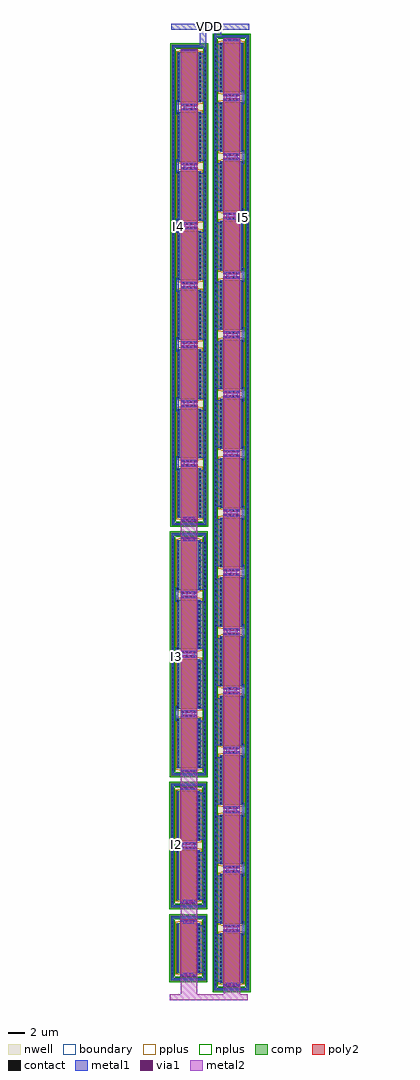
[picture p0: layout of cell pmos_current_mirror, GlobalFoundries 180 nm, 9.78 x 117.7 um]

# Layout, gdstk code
import gdstk
lib = gdstk.Library(unit=1e-6, precision=1e-09)
def R(c, l, rs):  # rectangles x0, y0, x1, y1
    for r in rs: c.add(gdstk.rectangle(r[:2], r[2:], *l))
def A(c, l, x, y, w, h, nx, ny, dx, dy):  # array of equal rectangles
    R(c, l, [(x+i*dx, y+j*dy, x+i*dx+w, y+j*dy+h) for i in range(nx) for j in range(ny)])
boundary = (0, 0)
nwell = (21, 0)
comp = (22, 0)
poly2 = (30, 0)
pplus = (31, 0)
nplus = (32, 0)
contact = (33, 0)
metal1 = (34, 0)
via1 = (35, 0)
metal2 = (36, 0)

pfet_03v3_v2nssf = lib.new_cell('pfet_03v3_V2NSSF')
R(pfet_03v3_v2nssf, boundary, [(-1.95,-57.45,1.95,57.45)])
R(pfet_03v3_v2nssf, nwell, [(-2.25,-57.75,2.25,57.75)])
A(pfet_03v3_v2nssf, comp, -1.44, -56.7, 2.88, 6, 1, 16, 0, 7.16)
R(pfet_03v3_v2nssf, comp, [(-2.13,-57.63,2.13,-57.27), (-2.13,-57.27,-1.77,57.27), (1.77,-57.27,2.13,57.27), (-2.13,57.27,2.13,57.63)])
A(pfet_03v3_v2nssf, poly2, -1, -57.16, 2, 6.92, 1, 16, 0, 7.16)
A(pfet_03v3_v2nssf, pplus, -1.6, -56.86, 3.2, 6.32, 1, 16, 0, 7.16)
R(pfet_03v3_v2nssf, pplus, [(-1.23,-56.93,1.23,-56.86), (-1.23,-50.54,1.23,-50.47), (-1.23,-49.77,1.23,-49.7), (-1.23,-43.38,1.23,-43.31), (-1.23,-42.61,1.23,-42.54), (-1.23,-36.22,1.23,-36.15), (-1.23,-35.45,1.23,-35.38), (-1.23,-29.06,1.23,-28.99), (-1.23,-28.29,1.23,-28.22), (-1.23,-21.9,1.23,-21.83), (-1.23,-21.13,1.23,-21.06), (-1.23,-14.74,1.23,-14.67), (-1.23,-13.97,1.23,-13.9), (-1.23,-7.58,1.23,-7.51), (-1.23,-6.81,1.23,-6.74), (-1.23,-0.42,1.23,-0.35), (-1.23,0.35,1.23,0.42), (-1.23,6.74,1.23,6.81), (-1.23,7.51,1.23,7.58), (-1.23,13.9,1.23,13.97), (-1.23,14.67,1.23,14.74), (-1.23,21.06,1.23,21.13), (-1.23,21.83,1.23,21.9), (-1.23,28.22,1.23,28.29), (-1.23,28.99,1.23,29.06), (-1.23,35.38,1.23,35.45), (-1.23,36.15,1.23,36.22), (-1.23,42.54,1.23,42.61), (-1.23,43.31,1.23,43.38), (-1.23,49.7,1.23,49.77), (-1.23,50.47,1.23,50.54), (-1.23,56.86,1.23,56.93)])
R(pfet_03v3_v2nssf, nplus, [(-2.29,-57.79,2.29,-57.16), (-2.29,-57.16,-1.66,57.16), (1.66,-57.16,2.29,57.16), (-2.29,57.16,2.29,57.79)])
A(pfet_03v3_v2nssf, contact, -0.815, -57.09, 0.22, 0.22, 4, 2, 0.47, 6.56)
A(pfet_03v3_v2nssf, contact, -2.06, -56.98, 0.22, 0.22, 1, 243, 0, 0.47)
A(pfet_03v3_v2nssf, contact, 1.84, -56.98, 0.22, 0.22, 1, 243, 0, 0.47)
A(pfet_03v3_v2nssf, contact, -1.37, -56.63, 0.22, 0.22, 1, 13, 0, 0.47)
A(pfet_03v3_v2nssf, contact, 1.15, -56.63, 0.22, 0.22, 1, 13, 0, 0.47)
A(pfet_03v3_v2nssf, contact, -0.815, -49.93, 0.22, 0.22, 4, 2, 0.47, 6.56)
A(pfet_03v3_v2nssf, contact, -1.37, -49.47, 0.22, 0.22, 1, 13, 0, 0.47)
A(pfet_03v3_v2nssf, contact, 1.15, -49.47, 0.22, 0.22, 1, 13, 0, 0.47)
A(pfet_03v3_v2nssf, contact, -0.815, -42.77, 0.22, 0.22, 4, 2, 0.47, 6.56)
A(pfet_03v3_v2nssf, contact, -1.37, -42.31, 0.22, 0.22, 1, 13, 0, 0.47)
A(pfet_03v3_v2nssf, contact, 1.15, -42.31, 0.22, 0.22, 1, 13, 0, 0.47)
A(pfet_03v3_v2nssf, contact, -0.815, -35.61, 0.22, 0.22, 4, 2, 0.47, 6.56)
A(pfet_03v3_v2nssf, contact, -1.37, -35.15, 0.22, 0.22, 1, 13, 0, 0.47)
A(pfet_03v3_v2nssf, contact, 1.15, -35.15, 0.22, 0.22, 1, 13, 0, 0.47)
A(pfet_03v3_v2nssf, contact, -0.815, -28.45, 0.22, 0.22, 4, 2, 0.47, 6.56)
A(pfet_03v3_v2nssf, contact, -1.37, -27.99, 0.22, 0.22, 1, 13, 0, 0.47)
A(pfet_03v3_v2nssf, contact, 1.15, -27.99, 0.22, 0.22, 1, 13, 0, 0.47)
A(pfet_03v3_v2nssf, contact, -0.815, -21.29, 0.22, 0.22, 4, 2, 0.47, 6.56)
A(pfet_03v3_v2nssf, contact, -1.37, -20.83, 0.22, 0.22, 1, 13, 0, 0.47)
A(pfet_03v3_v2nssf, contact, 1.15, -20.83, 0.22, 0.22, 1, 13, 0, 0.47)
A(pfet_03v3_v2nssf, contact, -0.815, -14.13, 0.22, 0.22, 4, 2, 0.47, 6.56)
A(pfet_03v3_v2nssf, contact, -1.37, -13.67, 0.22, 0.22, 1, 13, 0, 0.47)
A(pfet_03v3_v2nssf, contact, 1.15, -13.67, 0.22, 0.22, 1, 13, 0, 0.47)
A(pfet_03v3_v2nssf, contact, -0.815, -6.97, 0.22, 0.22, 4, 2, 0.47, 6.56)
A(pfet_03v3_v2nssf, contact, -1.37, -6.51, 0.22, 0.22, 1, 13, 0, 0.47)
A(pfet_03v3_v2nssf, contact, 1.15, -6.51, 0.22, 0.22, 1, 13, 0, 0.47)
A(pfet_03v3_v2nssf, contact, -0.815, 0.19, 0.22, 0.22, 4, 2, 0.47, 6.56)
A(pfet_03v3_v2nssf, contact, -1.37, 0.65, 0.22, 0.22, 1, 13, 0, 0.47)
A(pfet_03v3_v2nssf, contact, 1.15, 0.65, 0.22, 0.22, 1, 13, 0, 0.47)
A(pfet_03v3_v2nssf, contact, -0.815, 7.35, 0.22, 0.22, 4, 2, 0.47, 6.56)
A(pfet_03v3_v2nssf, contact, -1.37, 7.81, 0.22, 0.22, 1, 13, 0, 0.47)
A(pfet_03v3_v2nssf, contact, 1.15, 7.81, 0.22, 0.22, 1, 13, 0, 0.47)
A(pfet_03v3_v2nssf, contact, -0.815, 14.51, 0.22, 0.22, 4, 2, 0.47, 6.56)
A(pfet_03v3_v2nssf, contact, -1.37, 14.97, 0.22, 0.22, 1, 13, 0, 0.47)
A(pfet_03v3_v2nssf, contact, 1.15, 14.97, 0.22, 0.22, 1, 13, 0, 0.47)
A(pfet_03v3_v2nssf, contact, -0.815, 21.67, 0.22, 0.22, 4, 2, 0.47, 6.56)
A(pfet_03v3_v2nssf, contact, -1.37, 22.13, 0.22, 0.22, 1, 13, 0, 0.47)
A(pfet_03v3_v2nssf, contact, 1.15, 22.13, 0.22, 0.22, 1, 13, 0, 0.47)
A(pfet_03v3_v2nssf, contact, -0.815, 28.83, 0.22, 0.22, 4, 2, 0.47, 6.56)
A(pfet_03v3_v2nssf, contact, -1.37, 29.29, 0.22, 0.22, 1, 13, 0, 0.47)
A(pfet_03v3_v2nssf, contact, 1.15, 29.29, 0.22, 0.22, 1, 13, 0, 0.47)
A(pfet_03v3_v2nssf, contact, -0.815, 35.99, 0.22, 0.22, 4, 2, 0.47, 6.56)
A(pfet_03v3_v2nssf, contact, -1.37, 36.45, 0.22, 0.22, 1, 13, 0, 0.47)
A(pfet_03v3_v2nssf, contact, 1.15, 36.45, 0.22, 0.22, 1, 13, 0, 0.47)
A(pfet_03v3_v2nssf, contact, -0.815, 43.15, 0.22, 0.22, 4, 2, 0.47, 6.56)
A(pfet_03v3_v2nssf, contact, -1.37, 43.61, 0.22, 0.22, 1, 13, 0, 0.47)
A(pfet_03v3_v2nssf, contact, 1.15, 43.61, 0.22, 0.22, 1, 13, 0, 0.47)
A(pfet_03v3_v2nssf, contact, -0.815, 50.31, 0.22, 0.22, 4, 2, 0.47, 6.56)
A(pfet_03v3_v2nssf, contact, -1.37, 50.77, 0.22, 0.22, 1, 13, 0, 0.47)
A(pfet_03v3_v2nssf, contact, 1.15, 50.77, 0.22, 0.22, 1, 13, 0, 0.47)
A(pfet_03v3_v2nssf, metal1, -1.375, -56.69, 0.23, 5.98, 1, 16, 0, 7.16)
A(pfet_03v3_v2nssf, metal1, 1.145, -56.69, 0.23, 5.98, 1, 16, 0, 7.16)
R(pfet_03v3_v2nssf, metal1, [(-2.065,-57.565,2.065,-57.335), (-2.065,-57.335,-1.835,57.335), (1.835,-57.335,2.065,57.335), (-0.99,-57.095,0.99,-56.865), (-0.99,-50.535,0.99,-50.305), (-0.99,-49.935,0.99,-49.705), (-0.99,-43.375,0.99,-43.145), (-0.99,-42.775,0.99,-42.545), (-0.99,-36.215,0.99,-35.985), (-0.99,-35.615,0.99,-35.385), (-0.99,-29.055,0.99,-28.825), (-0.99,-28.455,0.99,-28.225), (-0.99,-21.895,0.99,-21.665), (-0.99,-21.295,0.99,-21.065), (-0.99,-14.735,0.99,-14.505), (-0.99,-14.135,0.99,-13.905), (-0.99,-7.575,0.99,-7.345), (-0.99,-6.975,0.99,-6.745), (-0.99,-0.415,0.99,-0.185), (-0.99,0.185,0.99,0.415), (-0.99,6.745,0.99,6.975), (-0.99,7.345,0.99,7.575), (-0.99,13.905,0.99,14.135), (-0.99,14.505,0.99,14.735), (-0.99,21.065,0.99,21.295), (-0.99,21.665,0.99,21.895), (-0.99,28.225,0.99,28.455), (-0.99,28.825,0.99,29.055), (-0.99,35.385,0.99,35.615), (-0.99,35.985,0.99,36.215), (-0.99,42.545,0.99,42.775), (-0.99,43.145,0.99,43.375), (-0.99,49.705,0.99,49.935), (-0.99,50.305,0.99,50.535), (-0.99,56.865,0.99,57.095), (-2.065,57.335,2.065,57.565)])

pfet_03v3_cumvap = lib.new_cell('pfet_03v3_CUMVAP')
R(pfet_03v3_cumvap, boundary, [(-1.95,-14.49,1.95,14.49)])
R(pfet_03v3_cumvap, nwell, [(-2.25,-14.79,2.25,14.79)])
A(pfet_03v3_cumvap, comp, -1.44, -13.74, 2.88, 6, 1, 4, 0, 7.16)
R(pfet_03v3_cumvap, comp, [(-2.13,-14.67,2.13,-14.31), (-2.13,-14.31,-1.77,14.31), (1.77,-14.31,2.13,14.31), (-2.13,14.31,2.13,14.67)])
A(pfet_03v3_cumvap, poly2, -1, -14.2, 2, 6.92, 1, 4, 0, 7.16)
A(pfet_03v3_cumvap, pplus, -1.6, -13.9, 3.2, 6.32, 1, 4, 0, 7.16)
R(pfet_03v3_cumvap, pplus, [(-1.23,-13.97,1.23,-13.9), (-1.23,-7.58,1.23,-7.51), (-1.23,-6.81,1.23,-6.74), (-1.23,-0.42,1.23,-0.35), (-1.23,0.35,1.23,0.42), (-1.23,6.74,1.23,6.81), (-1.23,7.51,1.23,7.58), (-1.23,13.9,1.23,13.97)])
R(pfet_03v3_cumvap, nplus, [(-2.29,-14.83,2.29,-14.2), (-2.29,-14.2,-1.66,14.2), (1.66,-14.2,2.29,14.2), (-2.29,14.2,2.29,14.83)])
A(pfet_03v3_cumvap, contact, -0.815, -14.13, 0.22, 0.22, 4, 2, 0.47, 6.56)
A(pfet_03v3_cumvap, contact, -2.06, -13.975, 0.22, 0.22, 1, 60, 0, 0.47)
A(pfet_03v3_cumvap, contact, 1.84, -13.975, 0.22, 0.22, 1, 60, 0, 0.47)
A(pfet_03v3_cumvap, contact, -1.37, -13.67, 0.22, 0.22, 1, 13, 0, 0.47)
A(pfet_03v3_cumvap, contact, 1.15, -13.67, 0.22, 0.22, 1, 13, 0, 0.47)
A(pfet_03v3_cumvap, contact, -0.815, -6.97, 0.22, 0.22, 4, 2, 0.47, 6.56)
A(pfet_03v3_cumvap, contact, -1.37, -6.51, 0.22, 0.22, 1, 13, 0, 0.47)
A(pfet_03v3_cumvap, contact, 1.15, -6.51, 0.22, 0.22, 1, 13, 0, 0.47)
A(pfet_03v3_cumvap, contact, -0.815, 0.19, 0.22, 0.22, 4, 2, 0.47, 6.56)
A(pfet_03v3_cumvap, contact, -1.37, 0.65, 0.22, 0.22, 1, 13, 0, 0.47)
A(pfet_03v3_cumvap, contact, 1.15, 0.65, 0.22, 0.22, 1, 13, 0, 0.47)
A(pfet_03v3_cumvap, contact, -0.815, 7.35, 0.22, 0.22, 4, 2, 0.47, 6.56)
A(pfet_03v3_cumvap, contact, -1.37, 7.81, 0.22, 0.22, 1, 13, 0, 0.47)
A(pfet_03v3_cumvap, contact, 1.15, 7.81, 0.22, 0.22, 1, 13, 0, 0.47)
A(pfet_03v3_cumvap, metal1, -1.375, -13.73, 0.23, 5.98, 1, 4, 0, 7.16)
A(pfet_03v3_cumvap, metal1, 1.145, -13.73, 0.23, 5.98, 1, 4, 0, 7.16)
R(pfet_03v3_cumvap, metal1, [(-2.065,-14.605,2.065,-14.375), (-2.065,-14.375,-1.835,14.375), (1.835,-14.375,2.065,14.375), (-0.99,-14.135,0.99,-13.905), (-0.99,-7.575,0.99,-7.345), (-0.99,-6.975,0.99,-6.745), (-0.99,-0.415,0.99,-0.185), (-0.99,0.185,0.99,0.415), (-0.99,6.745,0.99,6.975), (-0.99,7.345,0.99,7.575), (-0.99,13.905,0.99,14.135), (-2.065,14.375,2.065,14.605)])

pfet_03v3_cump9p = lib.new_cell('pfet_03v3_CUMP9P')
R(pfet_03v3_cump9p, boundary, [(-1.95,-28.81,1.95,28.81)])
R(pfet_03v3_cump9p, nwell, [(-2.25,-29.11,2.25,29.11)])
A(pfet_03v3_cump9p, comp, -1.44, -28.06, 2.88, 6, 1, 8, 0, 7.16)
R(pfet_03v3_cump9p, comp, [(-2.13,-28.99,2.13,-28.63), (-2.13,-28.63,-1.77,28.63), (1.77,-28.63,2.13,28.63), (-2.13,28.63,2.13,28.99)])
A(pfet_03v3_cump9p, poly2, -1, -28.52, 2, 6.92, 1, 8, 0, 7.16)
A(pfet_03v3_cump9p, pplus, -1.6, -28.22, 3.2, 6.32, 1, 8, 0, 7.16)
R(pfet_03v3_cump9p, pplus, [(-1.23,-28.29,1.23,-28.22), (-1.23,-21.9,1.23,-21.83), (-1.23,-21.13,1.23,-21.06), (-1.23,-14.74,1.23,-14.67), (-1.23,-13.97,1.23,-13.9), (-1.23,-7.58,1.23,-7.51), (-1.23,-6.81,1.23,-6.74), (-1.23,-0.42,1.23,-0.35), (-1.23,0.35,1.23,0.42), (-1.23,6.74,1.23,6.81), (-1.23,7.51,1.23,7.58), (-1.23,13.9,1.23,13.97), (-1.23,14.67,1.23,14.74), (-1.23,21.06,1.23,21.13), (-1.23,21.83,1.23,21.9), (-1.23,28.22,1.23,28.29)])
R(pfet_03v3_cump9p, nplus, [(-2.29,-29.15,2.29,-28.52), (-2.29,-28.52,-1.66,28.52), (1.66,-28.52,2.29,28.52), (-2.29,28.52,2.29,29.15)])
A(pfet_03v3_cump9p, contact, -0.815, -28.45, 0.22, 0.22, 4, 2, 0.47, 6.56)
A(pfet_03v3_cump9p, contact, -2.06, -28.31, 0.22, 0.22, 1, 121, 0, 0.47)
A(pfet_03v3_cump9p, contact, 1.84, -28.31, 0.22, 0.22, 1, 121, 0, 0.47)
A(pfet_03v3_cump9p, contact, -1.37, -27.99, 0.22, 0.22, 1, 13, 0, 0.47)
A(pfet_03v3_cump9p, contact, 1.15, -27.99, 0.22, 0.22, 1, 13, 0, 0.47)
A(pfet_03v3_cump9p, contact, -0.815, -21.29, 0.22, 0.22, 4, 2, 0.47, 6.56)
A(pfet_03v3_cump9p, contact, -1.37, -20.83, 0.22, 0.22, 1, 13, 0, 0.47)
A(pfet_03v3_cump9p, contact, 1.15, -20.83, 0.22, 0.22, 1, 13, 0, 0.47)
A(pfet_03v3_cump9p, contact, -0.815, -14.13, 0.22, 0.22, 4, 2, 0.47, 6.56)
A(pfet_03v3_cump9p, contact, -1.37, -13.67, 0.22, 0.22, 1, 13, 0, 0.47)
A(pfet_03v3_cump9p, contact, 1.15, -13.67, 0.22, 0.22, 1, 13, 0, 0.47)
A(pfet_03v3_cump9p, contact, -0.815, -6.97, 0.22, 0.22, 4, 2, 0.47, 6.56)
A(pfet_03v3_cump9p, contact, -1.37, -6.51, 0.22, 0.22, 1, 13, 0, 0.47)
A(pfet_03v3_cump9p, contact, 1.15, -6.51, 0.22, 0.22, 1, 13, 0, 0.47)
A(pfet_03v3_cump9p, contact, -0.815, 0.19, 0.22, 0.22, 4, 2, 0.47, 6.56)
A(pfet_03v3_cump9p, contact, -1.37, 0.65, 0.22, 0.22, 1, 13, 0, 0.47)
A(pfet_03v3_cump9p, contact, 1.15, 0.65, 0.22, 0.22, 1, 13, 0, 0.47)
A(pfet_03v3_cump9p, contact, -0.815, 7.35, 0.22, 0.22, 4, 2, 0.47, 6.56)
A(pfet_03v3_cump9p, contact, -1.37, 7.81, 0.22, 0.22, 1, 13, 0, 0.47)
A(pfet_03v3_cump9p, contact, 1.15, 7.81, 0.22, 0.22, 1, 13, 0, 0.47)
A(pfet_03v3_cump9p, contact, -0.815, 14.51, 0.22, 0.22, 4, 2, 0.47, 6.56)
A(pfet_03v3_cump9p, contact, -1.37, 14.97, 0.22, 0.22, 1, 13, 0, 0.47)
A(pfet_03v3_cump9p, contact, 1.15, 14.97, 0.22, 0.22, 1, 13, 0, 0.47)
A(pfet_03v3_cump9p, contact, -0.815, 21.67, 0.22, 0.22, 4, 2, 0.47, 6.56)
A(pfet_03v3_cump9p, contact, -1.37, 22.13, 0.22, 0.22, 1, 13, 0, 0.47)
A(pfet_03v3_cump9p, contact, 1.15, 22.13, 0.22, 0.22, 1, 13, 0, 0.47)
A(pfet_03v3_cump9p, metal1, -1.375, -28.05, 0.23, 5.98, 1, 8, 0, 7.16)
A(pfet_03v3_cump9p, metal1, 1.145, -28.05, 0.23, 5.98, 1, 8, 0, 7.16)
R(pfet_03v3_cump9p, metal1, [(-2.065,-28.925,2.065,-28.695), (-2.065,-28.695,-1.835,28.695), (1.835,-28.695,2.065,28.695), (-0.99,-28.455,0.99,-28.225), (-0.99,-21.895,0.99,-21.665), (-0.99,-21.295,0.99,-21.065), (-0.99,-14.735,0.99,-14.505), (-0.99,-14.135,0.99,-13.905), (-0.99,-7.575,0.99,-7.345), (-0.99,-6.975,0.99,-6.745), (-0.99,-0.415,0.99,-0.185), (-0.99,0.185,0.99,0.415), (-0.99,6.745,0.99,6.975), (-0.99,7.345,0.99,7.575), (-0.99,13.905,0.99,14.135), (-0.99,14.505,0.99,14.735), (-0.99,21.065,0.99,21.295), (-0.99,21.665,0.99,21.895), (-0.99,28.225,0.99,28.455), (-2.065,28.695,2.065,28.925)])

pfet_03v3_cumgap = lib.new_cell('pfet_03v3_CUMGAP')
R(pfet_03v3_cumgap, boundary, [(-1.95,-7.33,1.95,7.33)])
R(pfet_03v3_cumgap, nwell, [(-2.25,-7.63,2.25,7.63)])
R(pfet_03v3_cumgap, comp, [(-2.13,-7.51,2.13,-7.15), (-2.13,-7.15,-1.77,7.15), (1.77,-7.15,2.13,7.15), (-1.44,-6.58,1.44,-0.58), (-1.44,0.58,1.44,6.58), (-2.13,7.15,2.13,7.51)])
R(pfet_03v3_cumgap, poly2, [(-1,-7.04,1,-0.12), (-1,0.12,1,7.04)])
R(pfet_03v3_cumgap, pplus, [(-1.23,-6.81,1.23,-6.74), (-1.6,-6.74,1.6,-0.42), (-1.23,-0.42,1.23,-0.35), (-1.23,0.35,1.23,0.42), (-1.6,0.42,1.6,6.74), (-1.23,6.74,1.23,6.81)])
R(pfet_03v3_cumgap, nplus, [(-2.29,-7.67,2.29,-7.04), (-2.29,-7.04,-1.66,7.04), (1.66,-7.04,2.29,7.04), (-2.29,7.04,2.29,7.67)])
A(pfet_03v3_cumgap, contact, -0.815, -6.97, 0.22, 0.22, 4, 2, 0.47, 6.56)
A(pfet_03v3_cumgap, contact, -2.06, -6.925, 0.22, 0.22, 1, 30, 0, 0.47)
A(pfet_03v3_cumgap, contact, 1.84, -6.925, 0.22, 0.22, 1, 30, 0, 0.47)
A(pfet_03v3_cumgap, contact, -1.37, -6.51, 0.22, 0.22, 1, 13, 0, 0.47)
A(pfet_03v3_cumgap, contact, 1.15, -6.51, 0.22, 0.22, 1, 13, 0, 0.47)
A(pfet_03v3_cumgap, contact, -0.815, 0.19, 0.22, 0.22, 4, 2, 0.47, 6.56)
A(pfet_03v3_cumgap, contact, -1.37, 0.65, 0.22, 0.22, 1, 13, 0, 0.47)
A(pfet_03v3_cumgap, contact, 1.15, 0.65, 0.22, 0.22, 1, 13, 0, 0.47)
R(pfet_03v3_cumgap, metal1, [(-2.065,-7.445,2.065,-7.215), (-2.065,-7.215,-1.835,7.215), (1.835,-7.215,2.065,7.215), (-0.99,-6.975,0.99,-6.745), (-1.375,-6.57,-1.145,-0.59), (1.145,-6.57,1.375,-0.59), (-0.99,-0.415,0.99,-0.185), (-0.99,0.185,0.99,0.415), (-1.375,0.59,-1.145,6.57), (1.145,0.59,1.375,6.57), (-0.99,6.745,0.99,6.975), (-2.065,7.215,2.065,7.445)])

pfet_03v3_cu5lap = lib.new_cell('pfet_03v3_CU5LAP')
R(pfet_03v3_cu5lap, boundary, [(-1.95,-3.75,1.95,3.75)])
R(pfet_03v3_cu5lap, nwell, [(-2.25,-4.05,2.25,4.05)])
R(pfet_03v3_cu5lap, comp, [(-2.13,-3.93,2.13,-3.57), (-2.13,-3.57,-1.77,3.57), (1.77,-3.57,2.13,3.57), (-1.44,-3,1.44,3), (-2.13,3.57,2.13,3.93)])
R(pfet_03v3_cu5lap, poly2, [(-1,-3.46,1,3.46)])
R(pfet_03v3_cu5lap, pplus, [(-1.23,-3.23,1.23,-3.16), (-1.6,-3.16,1.6,3.16), (-1.23,3.16,1.23,3.23)])
R(pfet_03v3_cu5lap, nplus, [(-2.29,-4.09,2.29,-3.46), (-2.29,-3.46,-1.66,3.46), (1.66,-3.46,2.29,3.46), (-2.29,3.46,2.29,4.09)])
A(pfet_03v3_cu5lap, contact, -0.815, -3.39, 0.22, 0.22, 4, 2, 0.47, 6.56)
A(pfet_03v3_cu5lap, contact, -2.06, -3.165, 0.22, 0.22, 1, 14, 0, 0.47)
A(pfet_03v3_cu5lap, contact, 1.84, -3.165, 0.22, 0.22, 1, 14, 0, 0.47)
A(pfet_03v3_cu5lap, contact, -1.37, -2.93, 0.22, 0.22, 1, 13, 0, 0.47)
A(pfet_03v3_cu5lap, contact, 1.15, -2.93, 0.22, 0.22, 1, 13, 0, 0.47)
R(pfet_03v3_cu5lap, metal1, [(-2.065,-3.865,2.065,-3.635), (-2.065,-3.635,-1.835,3.635), (1.835,-3.635,2.065,3.635), (-0.99,-3.395,0.99,-3.165), (-1.375,-2.99,-1.145,2.99), (1.145,-2.99,1.375,2.99), (-0.99,3.165,0.99,3.395), (-2.065,3.635,2.065,3.865)])

pmos_current_mirror = lib.new_cell('pmos_current_mirror')
R(pmos_current_mirror, nwell, [(0.7,15.5,0.8,16.6), (0.7,16.6,0.9,16.8), (0.7,16.8,0.8,16.9)])
A(pmos_current_mirror, metal1, 5.3, 14, 0.9, 5.7, 1, 3, 0, 7.1)
A(pmos_current_mirror, metal1, 6.7, 20, 1.3, 0.8, 1, 3, 0, 7.2)
A(pmos_current_mirror, metal1, 3.3, 25.5, 0.9, 5.7, 1, 3, 0, 7.2)
A(pmos_current_mirror, metal1, 8.6, 26.7, 0.3, 1.7, 1, 4, 0, 7.2)
A(pmos_current_mirror, metal1, 1.4, 31.6, 1.6, 0.8, 1, 3, 0, 7.2)
A(pmos_current_mirror, metal1, 5.3, 35.4, 0.9, 5.7, 1, 4, 0, 7.2)
A(pmos_current_mirror, metal1, 0.7, 68.5, 0.3, 1.7, 1, 3, 0, 7.2)
A(pmos_current_mirror, metal1, 8.6, 69.7, 0.3, 1.7, 1, 3, 0, 7.2)
A(pmos_current_mirror, metal1, 3.4, 70, 0.9, 5.7, 1, 3, 0, 7.2)
A(pmos_current_mirror, metal1, 5.3, 71.2, 0.9, 5.7, 1, 3, 0, 7.2)
A(pmos_current_mirror, metal1, 3.4, 91.5, 0.9, 5.7, 1, 3, 0, 7.2)
R(pmos_current_mirror, metal1, [(6.7,-0.8,8,-0.4), (5.3,-0.3,6.2,5.4), (1.5,0.4,2.7,0.8), (3.3,0.8,4.2,6.5), (8.6,5.3,8.9,7), (6.8,5.7,8.1,6.5), (1.5,6.7,2.8,7), (5.3,6.8,6.2,12.5), (1.7,7,2.6,7.1), (1.5,9.2,2.9,9.6), (3.3,9.6,4.2,15.3), (8.6,12.4,8.9,14.1), (6.7,12.9,8,13.7), (0.6,15.3,0.8,15.4), (0.6,15.4,0.9,16.9), (1.4,15.7,3,16.5), (3.3,16.8,4.2,22.5), (0.6,16.9,0.8,17), (8.6,19.6,8.9,21.3), (0.6,31.2,0.9,32.9), (0.6,38.3,0.9,40), (6.8,41.5,8.1,42.3), (0.6,45.5,0.9,47.2), (3.4,47,4.3,52.7), (6.7,48.7,8,49.5), (1.5,52.8,3,53.2), (1.5,55.4,3,55.8), (8.6,55.4,8.9,57.1), (3.4,55.7,4.3,61.4), (6.8,55.8,8.1,56.6), (0.7,61.4,1,63.1), (1.6,61.8,2.9,62.6), (8.6,62.6,8.9,64.3), (3.4,62.9,4.3,68.6), (6.8,63,8.1,63.8), (5.3,64.1,6.2,69.8), (1.6,69,2.9,69.8), (6.8,70.1,8.1,70.9), (1.6,76.1,2.9,76.9), (6.8,77.3,8.1,78.1), (1.6,83.3,2.9,84.1), (6.7,84.5,8,85.3), (0.7,90,1,91.7), (1.7,90.5,3,91.3), (8.6,91.2,8.9,92.9), (6.7,91.6,8,92.4), (5.3,92.7,6.2,98.4), (0.7,97.2,1,98.9), (1.6,97.6,2.9,98.4), (8.6,98.3,8.9,100), (6.8,98.8,8.1,99.6), (5.3,100,6.2,105.7), (0.7,104.3,1,106), (1.6,104.8,2.9,105.6), (8.6,105.5,8.9,107.2), (6.7,105.9,8,106.7), (5.3,107.1,6.2,112.8), (3.5,112.4,4.3,114.5), (5.3,113.6,6.1,114.5), (0.1,114.5,9.5,115.2)])
A(pmos_current_mirror, via1, 1.6, 52.92, 0.26, 0.26, 3, 2, 0.52, 2.5)
R(pmos_current_mirror, via1, [(6.96,-0.78,7.22,-0.52), (7.48,-0.78,7.74,-0.52), (1.71,0.42,1.97,0.68), (2.23,0.42,2.49,0.68), (1.76,6.82,2.02,7.08), (2.28,6.82,2.54,7.08), (1.81,9.22,2.07,9.48), (2.33,9.22,2.59,9.48)])
R(pmos_current_mirror, metal2, [(-0.1,-2.5,9.3,-1.8), (1.2,-1.8,3.2,112.1), (6.4,-1.8,8.4,113.5)])
pmos_current_mirror.add(gdstk.Reference(pfet_03v3_v2nssf, (7.35,56.25)))
pmos_current_mirror.add(gdstk.Reference(pfet_03v3_cumvap, (2.2,39.19)))
pmos_current_mirror.add(gdstk.Reference(pfet_03v3_cump9p, (2.25,83.71)))
pmos_current_mirror.add(gdstk.Reference(pfet_03v3_cumgap, (2.15,16.13)))
pmos_current_mirror.add(gdstk.Reference(pfet_03v3_cu5lap, (2.15,3.75)))
pmos_current_mirror.add(gdstk.Label('VDD', (4.7,114.9), layer=34, texttype=0))
pmos_current_mirror.add(gdstk.Label('I4', (0.9,90.8), layer=34, texttype=0))
pmos_current_mirror.add(gdstk.Label('I5', (8.8,91.9), layer=34, texttype=0))
pmos_current_mirror.add(gdstk.Label('I3', (0.7,38.9), layer=34, texttype=0))
pmos_current_mirror.add(gdstk.Label('I2', (0.7,16.2), layer=34, texttype=0))

lib.write_gds('pmos_current_mirror.gds')
